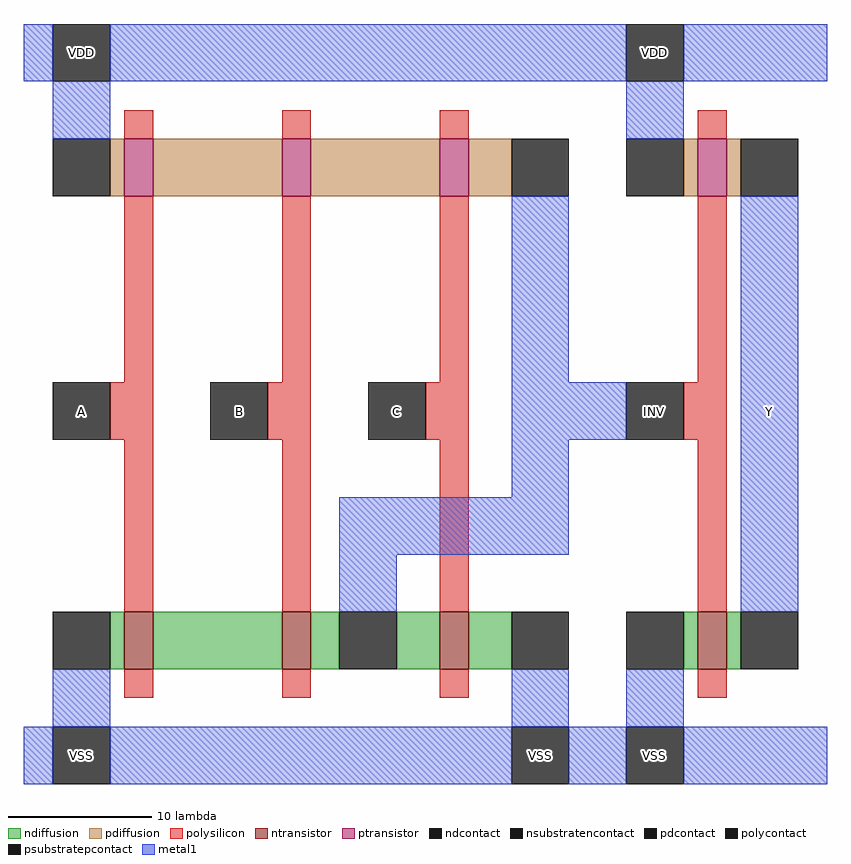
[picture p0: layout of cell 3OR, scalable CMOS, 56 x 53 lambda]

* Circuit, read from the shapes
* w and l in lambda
.subckt 3OR A B C INV VDD VSS Y
M1 n1 A VSS VSS nfet w=4 l=2
M2 INV B n1 VSS nfet w=4 l=2
M3 VSS C INV VSS nfet w=4 l=2
M4 Y INV VSS VSS nfet w=4 l=2
M5 n2 A VDD VDD pfet w=4 l=2
M6 n3 B n2 VDD pfet w=4 l=2
M7 INV C n3 VDD pfet w=4 l=2
M8 Y INV VDD VDD pfet w=4 l=2
.ends

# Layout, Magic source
magic
tech scmos
<< ntransistor >>
rect 5 8 7 12
rect 16 8 18 12
rect 27 8 29 12
rect 45 8 47 12
<< ptransistor >>
rect 5 41 7 45
rect 16 41 18 45
rect 27 41 29 45
rect 45 41 47 45
<< ndiffusion >>
rect 4 8 5 12
rect 7 8 16 12
rect 18 8 20 12
rect 24 8 27 12
rect 29 8 32 12
rect 44 8 45 12
rect 47 8 48 12
<< pdiffusion >>
rect 4 41 5 45
rect 7 41 16 45
rect 18 41 27 45
rect 29 41 32 45
rect 44 41 45 45
rect 47 41 48 45
<< ndcontact >>
rect 0 8 4 12
rect 20 8 24 12
rect 32 8 36 12
rect 40 8 44 12
rect 48 8 52 12
<< pdcontact >>
rect 0 41 4 45
rect 32 41 36 45
rect 40 41 44 45
rect 48 41 52 45
<< psubstratepcontact >>
rect 0 0 4 4
rect 32 0 36 4
rect 40 0 44 4
<< nsubstratencontact >>
rect 0 49 4 53
rect 40 49 44 53
<< polysilicon >>
rect 5 45 7 47
rect 16 45 18 47
rect 27 45 29 47
rect 45 45 47 47
rect 5 28 7 41
rect 16 28 18 41
rect 27 28 29 41
rect 45 28 47 41
rect 4 24 7 28
rect 15 24 18 28
rect 26 24 29 28
rect 44 24 47 28
rect 5 12 7 24
rect 16 12 18 24
rect 27 12 29 24
rect 45 12 47 24
rect 5 6 7 8
rect 16 6 18 8
rect 27 6 29 8
rect 45 6 47 8
<< polycontact >>
rect 0 24 4 28
rect 11 24 15 28
rect 22 24 26 28
rect 40 24 44 28
<< metal1 >>
rect -2 49 0 53
rect 4 49 40 53
rect 44 49 54 53
rect 0 45 4 49
rect 40 45 44 49
rect 32 28 36 41
rect 32 24 40 28
rect 32 20 36 24
rect 20 16 36 20
rect 20 12 24 16
rect 48 12 52 41
rect 0 4 4 8
rect 32 4 36 8
rect 40 4 44 8
rect -2 0 0 4
rect 4 0 32 4
rect 36 0 40 4
rect 44 0 54 4
<< labels >>
rlabel polycontact 2 26 2 26 1 A
rlabel polycontact 13 26 13 26 1 B
rlabel polycontact 24 26 24 26 1 C
rlabel polycontact 42 26 42 26 1 INV
rlabel metal1 50 26 50 26 7 Y
rlabel psubstratepcontact 2 2 2 2 1 VSS
rlabel psubstratepcontact 34 2 34 2 1 VSS
rlabel psubstratepcontact 42 2 42 2 1 VSS
rlabel nsubstratencontact 2 51 2 51 1 VDD
rlabel nsubstratencontact 42 51 42 51 1 VDD
<< end >>
